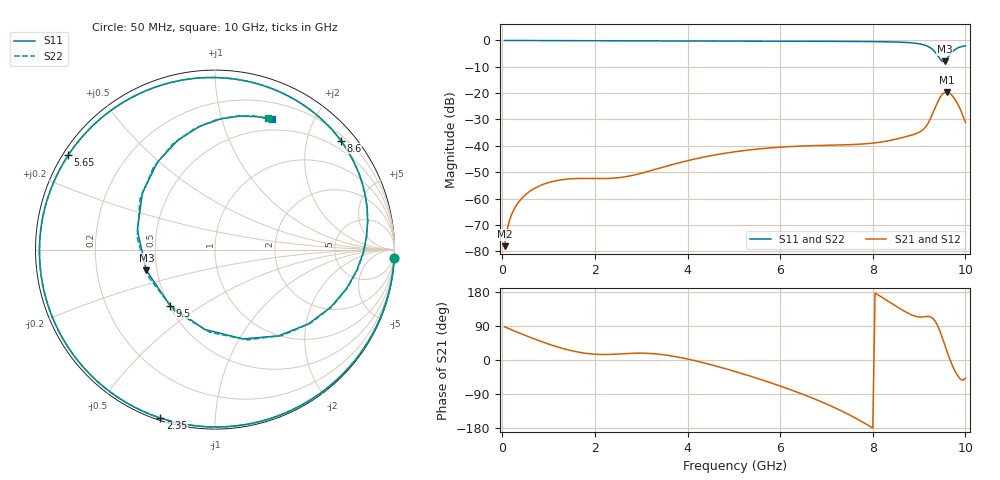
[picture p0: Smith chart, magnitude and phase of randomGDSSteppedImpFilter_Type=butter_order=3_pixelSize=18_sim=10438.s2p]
! freq	dB(S11)	phase(S11)	dB(S12)	phase(S12)
!  dB(S21)	phase(S21)	dB(S22)	phase(S22)
!S-par simulation data
#  GHz  S  DB  R 50
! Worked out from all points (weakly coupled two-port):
!   200 points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, 50 MHz to 10 GHz, reference 50 ohm
!   highest |S21| = -19.62 dB at 9.6 GHz (marker M1); lowest = -78.1 dB at 50 MHz (marker M2)
!   lowest |S11| = -8.0 dB at 9.55 GHz (marker M3), VSWR 2.33, Z = 21.8 - j6.02 ohm
!   |S11| at or under -10 dB: nowhere
!   |S22| runs from -8.0 to 0.0 dB; largest |S21 - S12| = 0
!   S11 on the Smith chart (normalised r, x): 50 MHz: 0, -44; 2.35 GHz: 0.01, -0.73; 5.65 GHz: 0.02, +0.29; 8.6 GHz: 0.30, +2.65; 9.5 GHz: 0.51, -0.38; 10 GHz: 0.38, +1.46
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0.05  -0.00 -2.6  -78.09 87.4  -78.09 87.4  -0.00 -2.6
0.1  -0.01 -5.2  -72.09 84.8  -72.09 84.8  -0.01 -5.2
0.2  -0.01 -10.3  -66.13 79.7  -66.13 79.7  -0.01 -10.3
0.5  -0.03 -25.6  -58.58 64.7  -58.58 64.7  -0.03 -25.6
1.15  -0.07 -57.2  -53.28 36.0  -53.28 36.0  -0.07 -57.2
1.75  -0.10 -83.9  -52.38 18.6  -52.38 18.6  -0.10 -83.9
2.35  -0.12 -107.9  -52.33 14.8  -52.33 14.8  -0.12 -107.9
3.4  -0.15 -144.7  -48.45 15.1  -48.45 15.1  -0.15 -144.7
4.2  -0.18 -169.7  -44.83 -3.0  -44.83 -3.0  -0.18 -169.7
5.05  -0.22 165.0  -42.19 -31.2  -42.19 -31.2  -0.22 165.0
5.65  -0.24 147.3  -40.99 -54.2  -40.99 -54.2  -0.24 147.3
6.7  -0.31 115.2  -39.93 -100.6  -39.93 -100.6  -0.31 115.2
7.6  -0.38 84.7  -39.49 -151.6  -39.49 -151.6  -0.38 84.7
8.35  -0.53 54.0  -38.03 153.8  -38.03 153.8  -0.53 54.0
8.6  -0.65 40.9  -37.05 134.7  -37.05 134.7  -0.65 40.9
9.15  -1.95 -8.3  -32.64 114.7  -32.64 114.7  -1.91 -7.8
9.35  -4.48 -53.6  -25.40 101.9  -25.40 101.9  -4.32 -51.8
9.5  -7.96 -128.7  -20.47 59.5  -20.47 59.5  -7.77 -123.6
9.55  -7.97 -163.2  -19.77 41.5  -19.77 41.5  -7.96 -157.4
9.6  -7.02 166.0  -19.62 23.5  -19.62 23.5  -7.16 171.2
9.8  -3.19 97.0  -23.05 -34.7  -23.05 -34.7  -3.30 99.5
10  -2.04 66.5  -31.07 -47.7  -31.07 -47.7  -2.04 68.1
